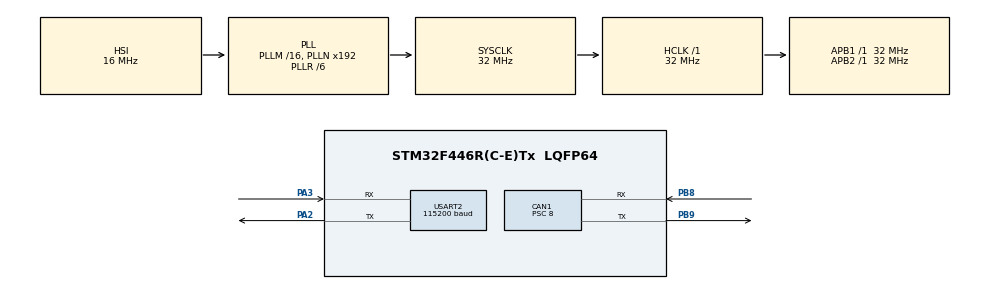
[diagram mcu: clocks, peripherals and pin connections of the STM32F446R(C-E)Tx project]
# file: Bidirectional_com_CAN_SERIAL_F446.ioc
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CAN1.BS1=CAN_BS1_2TQ
CAN1.CalculateBaudRate=1000000
CAN1.CalculateTimeBit=1000
CAN1.CalculateTimeQuantum=250.0
CAN1.Prescaler=8
Dma.Request0=USART2_RX
Dma.USART2_RX.0.Direction=DMA_PERIPH_TO_MEMORY
Dma.USART2_RX.0.FIFOMode=DMA_FIFOMODE_DISABLE
Dma.USART2_RX.0.Instance=DMA1_Stream5
Dma.USART2_RX.0.MemDataAlignment=DMA_MDATAALIGN_BYTE
Dma.USART2_RX.0.MemInc=DMA_MINC_ENABLE
Dma.USART2_RX.0.Mode=DMA_CIRCULAR
Dma.USART2_RX.0.PeriphDataAlignment=DMA_PDATAALIGN_BYTE
Dma.USART2_RX.0.PeriphInc=DMA_PINC_DISABLE
Dma.USART2_RX.0.Priority=DMA_PRIORITY_MEDIUM
Mcu.Family=STM32F4
Mcu.Name=STM32F446R(C-E)Tx
Mcu.Package=LQFP64
NVIC.CAN1_RX0_IRQn=true\:0\:0\:false\:false\:true\:true\:true\:true
NVIC.DMA1_Stream5_IRQn=true\:0\:0\:false\:false\:true\:false\:true\:true
NVIC.FLASH_IRQn=true\:0\:0\:false\:false\:true\:true\:true\:true
NVIC.PVD_IRQn=true\:0\:0\:false\:false\:true\:true\:true\:true
NVIC.PriorityGroup=NVIC_PRIORITYGROUP_4
NVIC.RCC_IRQn=true\:0\:0\:false\:false\:true\:true\:false\:true
NVIC.TIM8_TRG_COM_TIM14_IRQn=true\:0\:0\:false\:false\:true\:true\:true\:true
NVIC.USART2_IRQn=true\:0\:0\:false\:false\:true\:true\:true\:true
PA2.Mode=Asynchronous
PA2.Signal=USART2_TX
PA3.Mode=Asynchronous
PA3.Signal=USART2_RX
PB5.Signal=CAN2_RX
PB6.Signal=CAN2_TX
PB8.Mode=CAN_Activate
PB8.Signal=CAN1_RX
PB9.Mode=CAN_Activate
PB9.Signal=CAN1_TX
PH0-OSC_IN.Mode=HSE-External-Oscillator
PH0-OSC_IN.Signal=RCC_OSC_IN
PH1-OSC_OUT.Mode=HSE-External-Oscillator
PH1-OSC_OUT.Signal=RCC_OSC_OUT
ProjectManager.HeapSize=0x200
ProjectManager.StackSize=0x400
ProjectManager.TargetToolchain=STM32CubeIDE
RCC.AHBFreq_Value=32000000
RCC.APB1Freq_Value=32000000
RCC.APB1TimFreq_Value=32000000
RCC.APB2Freq_Value=32000000
RCC.APB2TimFreq_Value=32000000
RCC.CortexFreq_Value=32000000
RCC.HCLKFreq_Value=32000000
RCC.PLLR=6
RCC.SYSCLKFreq_VALUE=32000000
RCC.SYSCLKSource=RCC_SYSCLKSOURCE_PLLRCLK
RCC.USBFreq_Value=96000000
RCC.VCOOutputFreq_Value=192000000
USART2.BaudRate=115200
USART2.VirtualMode=VM_ASYNC
VP_TIM14_VS_ClockSourceINT.Mode=Enable_Timer
board=custom

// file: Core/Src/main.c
/* USER CODE BEGIN Header */
/**
  ******************************************************************************
  * @file           : main.c
  * @brief          : Main program body
  ******************************************************************************
  * @attention
  *
  * Copyright (c) 2024 STMicroelectronics.
  * All rights reserved.
  *
  * This software is licensed under terms that can be found in the LICENSE file
  * in the root directory of this software component.
  * If no LICENSE file comes with this software, it is provided AS-IS.
  *
  ******************************************************************************
  */
/* USER CODE END Header */
#include "main.h"

/* USER CODE BEGIN Includes */
#include "String.h"

#include "CO_app_STM32.h"
//#include "OD.h"

#include "math.h"
#include <stdio.h>
#include <stdint.h>
/* USER CODE END Includes */

/* USER CODE BEGIN PD */
extern OD_t *OD;
/* USER CODE END PD */

CAN_HandleTypeDef hcan1;

TIM_HandleTypeDef htim14;

UART_HandleTypeDef huart2;
DMA_HandleTypeDef hdma_usart2_rx;

void SystemClock_Config(void);
static void MX_GPIO_Init(void);
static void MX_DMA_Init(void);
static void MX_CAN1_Init(void);
static void MX_USART2_UART_Init(void);
static void MX_TIM14_Init(void);
/* USER CODE BEGIN PFP */
void spara_indietro_usart(CAN_HandleTypeDef *hcan1);
//void HAL_CAN_RxFifo0MsgPendingCallback(CAN_HandleTypeDef *hcan1);
void HAL_TIM_PeriodElapsedCallback(TIM_HandleTypeDef* htim) {
	/* USER CODE END Callback 0 */
	  if (htim->Instance == TIM14) {
	    HAL_IncTick();
	  }
	  /* USER CODE BEGIN Callback 1 */
    if (htim == canopenNodeSTM32->timerHandle) {
        canopen_app_interrupt();
    }
}
/* USER CODE END PFP */

/* USER CODE BEGIN 0 */
uint8_t TxBuffer[50]={0,0,0,0,0,0,0,0,0,0,0,0,0,0,0,0,0,0,0,0};//variabili globali
uint8_t RxBuffer[50]={0,0,0,0,0,0,0,0,0,0,0,0,0,0,0,0,0,0,0,0};//sono buffers, vettori dove i messaggi inviati e ricevuti in seriale vangono immagazzinati per poi farci cose....

CAN_TxHeaderTypeDef TxHeader;//x inviare il messaggio
  CAN_RxHeaderTypeDef RxHeader;//per riceverlo

  CAN_TxHeaderTypeDef TxHeader2;//x inviare il messaggio
    CAN_RxHeaderTypeDef RxHeader2;//per riceverlo

  uint32_t TxMailbox;//è come se fosse la busta del messaggio....
  uint8_t TxData[8];//credo dei contenitori per i dati in IN e OUT
  uint8_t RxData[8];

  uint8_t TxData2[8];//credo dei contenitori per i dati in IN e OUT
  uint8_t RxData2[8];

  uint8_t count = 0;
  uint8_t counter=0;//contatore per vedere se passo da li

    //variablili per interrups di seriale
  	uint8_t pesi=0;
	uint8_t values[10];
	uint32_t value=0;
	HAL_StatusTypeDef stato;

	//Variabili per filtriCanBus
	uint32_t FilterSettings[14]; 					//Array in cui salvo i settaggi arrivati dalla Usart2 prima di inserirli nella stringa
	char FilterSetCanBus [10][30]={ 				//Array di stringhe i cui inserisco i valori di settaggio
		"CAN_FILTER_ENABLE",
		"0",
		"CAN_RX_FIFO0",
		"(0x102 >> 5) & 0xFFFF",
		"(0x102 & 0x1F) << 5",	// TODO
		"(0x7FF >> 5) & 0xFFFF",
		"(0x7FF & 0x1F) << 5",
		"CAN_FILTERMODE_IDMASK",
		"CAN_FILTERSCALE_32BIT",
		"14"
	};

int go=0;
int i=0;
int h=1;

//int j=0;
/* USER CODE END 0 */

int main(void)
{

  /* MCU Configuration--------------------------------------------------------*/

  /* Reset of all peripherals, Initializes the Flash interface and the Systick. */
  HAL_Init();

  /* Configure the system clock */
  SystemClock_Config();

  /* Initialize all configured peripherals */
  MX_GPIO_Init();
  MX_DMA_Init();
  MX_CAN1_Init();
  MX_USART2_UART_Init();
  MX_TIM14_Init();
  /* USER CODE BEGIN 2 */
  HAL_UART_Receive_DMA(&huart2, RxBuffer, sizeof(RxBuffer));
     HAL_UART_Receive_IT(&huart2, RxBuffer, sizeof(RxBuffer));

     HAL_CAN_Start(&hcan1);

         HAL_CAN_ActivateNotification(&hcan1, CAN_IT_RX_FIFO0_MSG_PENDING);//notifica di arrivo dato
         //HAL_CAN_ActivateNotification(&hcan2, CAN_IT_RX_FIFO0_MSG_PENDING);//notifica di arrivo dato
           //da quello che ho capito è una interrupt apposta per l'arrivo di un messaggio in can
           //chiedere cosa sono e come funzionano i tipi di interrupt che vuole....CAN_IT_RX_FIFO0_MSG_PENDING
           //quando arriva il messaggio, i dati passano per referenza dentro hcan
           TxHeader.ExtId = 0;
           TxHeader.IDE = CAN_ID_STD;
           TxHeader.TransmitGlobalTime = DISABLE;
           TxHeader.RTR = CAN_RTR_DATA;//definire se usiamo il remote frame o data frame
           TxHeader.DLC=8;
           TxData[0] = 0x01;
           TxData[1] = 0x02;
           TxData[2] = 0x03;
           TxData[3] = 0x04;
           TxData[4] = 0x05;
           TxData[6] = 0x06;
           TxData[5] = 0x06;
           TxData[7] = 0x07;

           HAL_CAN_AddTxMessage(&hcan1, &TxHeader, TxData, &TxMailbox);

           TxHeader2.ExtId = 0;
           TxHeader2.IDE = CAN_ID_STD;
           TxHeader2.TransmitGlobalTime = DISABLE;
           TxHeader2.RTR = CAN_RTR_DATA;//definire se usiamo il remote frame o data frame
           TxData2[0] = 0x01;
           TxData2[1] = 0x02;
           TxData2[2] = 0x03;
           TxData2[3] = 0x04;
           TxData2[4] = 0x05;
           TxData2[5] = 0x06;
           TxData2[7] = 0x07;
           //create instance canopen and init
           //most of the following functions does not overwrite the IOC settings
           //prima dell'init riesco a sparare qualsiasi messaggio can....quando arrivo acanopen_app_init(&canOpenNodeSTM32); non shotta piu niente
           CANopenNodeSTM32 canOpenNodeSTM32;
           canOpenNodeSTM32.CANHandle = &hcan1;
           canOpenNodeSTM32.HWInitFunction = MX_CAN1_Init;
           canOpenNodeSTM32.timerHandle = &htim14;
           canOpenNodeSTM32.desiredNodeID = 1;
           canOpenNodeSTM32.baudrate = 1000;

           canOpenNodeSTM32.activeNodeID=3;

           canopen_app_init(&canOpenNodeSTM32);
           HAL_CAN_AddTxMessage(&hcan1, &TxHeader, TxData, &TxMailbox);
           OD_set_u32(OD_find(OD, 0x1802), 0x01, 3, false);//non funziona....hardware fault
//           int ciao = 5;

  /* USER CODE END 2 */

  /* Infinite loop */
  /* USER CODE BEGIN WHILE */
  while (1)
  {
	  canopen_app_process();//idem
    /* USER CODE END WHILE */

  }
}

void SystemClock_Config(void)
{
  RCC_OscInitTypeDef RCC_OscInitStruct = {0};
  RCC_ClkInitTypeDef RCC_ClkInitStruct = {0};

  /** Configure the main internal regulator output voltage
  */
  __HAL_RCC_PWR_CLK_ENABLE();
  __HAL_PWR_VOLTAGESCALING_CONFIG(PWR_REGULATOR_VOLTAGE_SCALE3);

  /** Initializes the RCC Oscillators according to the specified parameters
  * in the RCC_OscInitTypeDef structure.
  */
  RCC_OscInitStruct.OscillatorType = RCC_OSCILLATORTYPE_HSI;
  RCC_OscInitStruct.HSIState = RCC_HSI_ON;
  RCC_OscInitStruct.HSICalibrationValue = RCC_HSICALIBRATION_DEFAULT;
  RCC_OscInitStruct.PLL.PLLState = RCC_PLL_ON;
  RCC_OscInitStruct.PLL.PLLSource = RCC_PLLSOURCE_HSI;
  RCC_OscInitStruct.PLL.PLLM = 16;
  RCC_OscInitStruct.PLL.PLLN = 192;
  RCC_OscInitStruct.PLL.PLLP = RCC_PLLP_DIV2;
  RCC_OscInitStruct.PLL.PLLQ = 2;
  RCC_OscInitStruct.PLL.PLLR = 6;
  if (HAL_RCC_OscConfig(&RCC_OscInitStruct) != HAL_OK)
  {
    Error_Handler();
  }

  /** Initializes the CPU, AHB and APB buses clocks
  */
  RCC_ClkInitStruct.ClockType = RCC_CLOCKTYPE_HCLK|RCC_CLOCKTYPE_SYSCLK
                              |RCC_CLOCKTYPE_PCLK1|RCC_CLOCKTYPE_PCLK2;
  RCC_ClkInitStruct.SYSCLKSource = RCC_SYSCLKSOURCE_PLLRCLK;
  RCC_ClkInitStruct.AHBCLKDivider = RCC_SYSCLK_DIV1;
  RCC_ClkInitStruct.APB1CLKDivider = RCC_HCLK_DIV1;
  RCC_ClkInitStruct.APB2CLKDivider = RCC_HCLK_DIV1;

  if (HAL_RCC_ClockConfig(&RCC_ClkInitStruct, FLASH_LATENCY_1) != HAL_OK)
  {
    Error_Handler();
  }
}

static void MX_CAN1_Init(void)
{

  hcan1.Instance = CAN1;
  hcan1.Init.Prescaler = 8;
  hcan1.Init.Mode = CAN_MODE_NORMAL;
  hcan1.Init.SyncJumpWidth = CAN_SJW_1TQ;
  hcan1.Init.TimeSeg1 = CAN_BS1_2TQ;
  hcan1.Init.TimeSeg2 = CAN_BS2_1TQ;
  hcan1.Init.TimeTriggeredMode = DISABLE;
  hcan1.Init.AutoBusOff = DISABLE;
  hcan1.Init.AutoWakeUp = DISABLE;
  hcan1.Init.AutoRetransmission = DISABLE;
  hcan1.Init.ReceiveFifoLocked = DISABLE;
  hcan1.Init.TransmitFifoPriority = DISABLE;
  if (HAL_CAN_Init(&hcan1) != HAL_OK)
  {
    Error_Handler();
  }
  /* USER CODE BEGIN CAN1_Init 2 */

  CAN_FilterTypeDef canfilterconfig;
      canfilterconfig.FilterActivation = CAN_FILTER_ENABLE;
      canfilterconfig.FilterBank = 0;  // anything between 0 to SlaveStartFilterBank
      canfilterconfig.FilterFIFOAssignment = CAN_RX_FIFO0;
      canfilterconfig.FilterIdHigh =(0x102 >> 5) & 0xFFFF;;
      canfilterconfig.FilterIdLow = (0x102 & 0x1F) << 5;
      canfilterconfig.FilterMaskIdHigh = (0x7FF >> 5) & 0xFFFF;
      canfilterconfig.FilterMaskIdLow = (0x7FF & 0x1F) << 5;
      canfilterconfig.FilterMode = CAN_FILTERMODE_IDMASK;//due tipi di filtro
      canfilterconfig.FilterScale = CAN_FILTERSCALE_32BIT;
      canfilterconfig.SlaveStartFilterBank = 14;  // 13 to 27 are assigned to slave CAN (CAN 2) OR 0 to 12 are assgned to CAN1
                  //meglio farselo spiegare.....    canfilterconfig.SlaveStartFilterBank = 13;  // 13 to 27 are assigned to slave CAN (CAN 2) OR 0 to 12 are assgned to CAN1

      HAL_CAN_ConfigFilter(&hcan1, &canfilterconfig);
  /* USER CODE END CAN1_Init 2 */

}

static void MX_TIM14_Init(void)
{

  htim14.Instance = TIM14;
  htim14.Init.Prescaler = 0;
  htim14.Init.CounterMode = TIM_COUNTERMODE_UP;
  htim14.Init.Period = 65535;
  htim14.Init.ClockDivision = TIM_CLOCKDIVISION_DIV1;
  htim14.Init.AutoReloadPreload = TIM_AUTORELOAD_PRELOAD_DISABLE;
  if (HAL_TIM_Base_Init(&htim14) != HAL_OK)
  {
    Error_Handler();
  }

}

static void MX_USART2_UART_Init(void)
{

  huart2.Instance = USART2;
  huart2.Init.BaudRate = 115200;
  huart2.Init.WordLength = UART_WORDLENGTH_8B;
  huart2.Init.StopBits = UART_STOPBITS_1;
  huart2.Init.Parity = UART_PARITY_NONE;
  huart2.Init.Mode = UART_MODE_TX_RX;
  huart2.Init.HwFlowCtl = UART_HWCONTROL_NONE;
  huart2.Init.OverSampling = UART_OVERSAMPLING_16;
  if (HAL_UART_Init(&huart2) != HAL_OK)
  {
    Error_Handler();
  }

}

static void MX_DMA_Init(void)
{

  /* DMA controller clock enable */
  __HAL_RCC_DMA1_CLK_ENABLE();

  /* DMA interrupt init */
  /* DMA1_Stream5_IRQn interrupt configuration */
  HAL_NVIC_SetPriority(DMA1_Stream5_IRQn, 0, 0);
  HAL_NVIC_EnableIRQ(DMA1_Stream5_IRQn);

}

static void MX_GPIO_Init(void)
{
  GPIO_InitTypeDef GPIO_InitStruct = {0};

  /* GPIO Ports Clock Enable */
  __HAL_RCC_GPIOH_CLK_ENABLE();
  __HAL_RCC_GPIOA_CLK_ENABLE();
  __HAL_RCC_GPIOB_CLK_ENABLE();

  /*Configure GPIO pins : PB5 PB6 */
  GPIO_InitStruct.Pin = GPIO_PIN_5|GPIO_PIN_6;
  GPIO_InitStruct.Mode = GPIO_MODE_AF_PP;
  GPIO_InitStruct.Pull = GPIO_NOPULL;
  GPIO_InitStruct.Speed = GPIO_SPEED_FREQ_VERY_HIGH;
  GPIO_InitStruct.Alternate = GPIO_AF9_CAN2;
  HAL_GPIO_Init(GPIOB, &GPIO_InitStruct);

}

/* USER CODE BEGIN 4 */
void spara_indietro_usart(CAN_HandleTypeDef *hcan1)
//void HAL_CAN_RxFifo0MsgPendingCallback(CAN_HandleTypeDef *hcan1)
  {
  	HAL_CAN_GetRxMessage(hcan1, CAN_RX_FIFO0, &RxHeader, RxData);
  	//TxHeader.StdId=2;
  	//h=2;

  	uint8_t newpesi=100;
  	uint8_t contatore=0;
  	int k=0;
  	for(k=0;contatore<RxHeader.DLC;k=k+1){
  		TxBuffer[k]= RxData[contatore]/newpesi;
  		if(newpesi==1){
  			newpesi=100;
  			contatore=contatore+1;

  		}else{
  			newpesi=newpesi/10;
  		}
  		if(k==49)break;
  	}
  	//TxBuffer=RxData;
  	TxBuffer[1]=RxData[1];
  	TxBuffer[0]=RxData[0];

  	HAL_UART_Transmit(&huart2, TxBuffer, sizeof(TxBuffer), 10);
  }
void HAL_UART_RxCpltCallback(UART_HandleTypeDef *huart){

	//counter=counter+1;
	for(i=0;i<50;i++){
		if(RxBuffer[i]=='e'){									//Valore terminale della stringa in arrivo nel caso in cui sia un DataFrame
		  go=1;
		  break;
		}
		if(RxBuffer[i]=='b'){									//Valore terminale della stringa in arrivo nel caso in cui sia il settaggio dei filtri CAN
		  go=2;
		  break;
		}
	}

	if(go==1 || go==2){

		for(int j=0;j<50;j++){									//scorro il buffer
			if(RxBuffer[j]=='a') {								//separatore di caratteri nella stringa

				for(int a=1;a<=pesi;a++){
					 RxBuffer[j]='\000';
					 RxBuffer[j]=0;
					 double power =pow((10),(pesi-a));
					 value =value +((power)*(values[a-1]));
					 values[a-1]=0;
				}

				pesi =0;

				if(go==1){  									//se è un dataframe salvo i valori su TxData
					switch (count){
						case (0):
							TxHeader.StdId=value;
						break;
						case (1):
							TxHeader.DLC =value;
						  break;
						case (2):
							TxData[0]=value;
						  break;
						case (3):
							TxData[1]=value;
						  break;
						case (4):
							TxData[2]=value;
						  break;
						case (5):
							TxData[3]=value;
						  break;
						case (6):
							TxData[4]=value;
						  break;
						case (7):
							TxData[5]=value;
						  break;
						case (8):
							TxData[6]=value;
						  break;
						case (9):
							TxData[7]=value;
						  break;
					}
				}
				if(go==2){										//se è il settaggio del filtro salvo tutti i dati su FilterSettings e poi li elaborerò alla fine della lettura del buffer
					switch (count){
						case (0): 								//seleziono se ho un ID extended (29bit) o standard (11bit)
							FilterSettings[0]=value;
							/*if(value==0){
								FilterSetCanBus[0]="CAN_FILTER_DISABLE";
							}
							else if(value==1){
								FilterSetCanBus[0]="CAN_FILTER_ENABLE";
							}*/
							break;
						case (1): 								//settaggio FIFO del filtro
							FilterSettings[1]=value;
							if(value==0){
								strcpy(FilterSetCanBus[2], "CAN_RX_FIFO0");

							}
							else if(value==1){
								strcpy(FilterSetCanBus[2], "CAN_RX_FIFO1");
							}
							break;
						case (2): 								//settaggio del FilterScale del filtro
							FilterSettings[2]=value;
							if(value==0){
								strcpy(FilterSetCanBus[8], "CAN_FILTERSCALE_16BIT");
							}
							else if(value==1){
								strcpy(FilterSetCanBus[8], "CAN_FILTERSCALE_32BIT");
							}
							break;
						case (3): 								//modalità di filtro: mask o list
							FilterSettings[3]=value;
							if(value==0){
								strcpy(FilterSetCanBus[7], "CAN_FILTERMODE_IDLIST");
							}
							else if(value==1){
								strcpy(FilterSetCanBus[7], "CAN_FILTERMODE_IDMASK");
							}
							break;
						case (4): 								//setto il Filter Bank
							FilterSettings[4]=value;
//							sprintf(FilterSetCanBus[1], "%u", value);
							break;
						case (5):								//Slave start filter Bank
							FilterSettings[5]=value;
//							sprintf(FilterSetCanBus[9], "%u", value);
							break;
						case (6):  								//Id (L'ID che accetto)
							FilterSettings[6]=value; 			//Mask
							break;
						case (7):  								//Shift HIGH Maschera
							FilterSettings[7]=value; 			//Shift High
							break;
						case (8): 								//Shift LOW Maschera
							FilterSettings[8]=value; 			//Shift Low
							break;
						case (9):  								//IdMask (la maschera che mi setta il filtro)
							FilterSettings[9]=value; 			//IdMask (valori 01)
							break;
						case (10):								//da qui in poi: valori aggiuntivi nel caso in cui volessi usare la modalità "list" del filtro. ci sono 4 possibili spazi per 4 possibili ID.
							FilterSettings[10]=value; 			//ID1
							break;
						case (11):
							FilterSettings[11]=value; 			//ID2
							break;
						case (12):
							FilterSettings[12]=value; 			//ID3
							break;
						case (13):
							FilterSettings[13]=value; 			//ID4
							break;
					}
				}

				value=0;
				count=count+1;
			}
			if((RxBuffer[j]<58)){
				if((RxBuffer[j]>47)){
				 values[pesi]=RxBuffer[j]-48;
				 pesi++;
				 RxBuffer[j]=0;
				 RxBuffer[j]='\000';
				}
			}
			if(RxBuffer[j]=='e'){	//se trovo il valore terminale della stringa di un dataframe allora procedo con l'invio tramite CAN
				go=0;
				RxBuffer[j]=0;
				RxBuffer[j]='\000';
				HAL_CAN_AddTxMessage(&hcan1, &TxHeader, TxData, &TxMailbox);
				h=2;
				TxHeader2.DLC=TxHeader.DLC;
				TxHeader2.ExtId=TxHeader.ExtId;
				TxHeader2.IDE=TxHeader.IDE;
				TxHeader2.RTR=TxHeader.RTR;
				TxHeader2.StdId=TxHeader.StdId;
				TxHeader2.TransmitGlobalTime=TxHeader.TransmitGlobalTime;
				TxHeader.DLC = 8;
				count=0;
				break;
			}
			if(RxBuffer[j]=='b'){	//se trovo il valore terminale della stringa per il settaggio dei filtri allora procedo con l'elaborazione dei valori raccolti e li trasformo in stringhe.
				go=0;
				RxBuffer[j]=0;
				RxBuffer[j]='\000';

				  //FilterID High: creazione della stringa che mi setta nel filtro l'ID High dell'ID che deve essere verificato dal filtro.
				  char hex_IdMask[15]= {0};
//				  sprintf(hex_IdMask, "0x%X", FilterSettings[6]);  //trasformo il valore decimale ricevuto in Hex e poi prosegui concatenando stringhe
				  char Par[] = "(";

				  char Result[40]= {0};
				  strcat(Result, Par);
				  strcat(Result, hex_IdMask);
				  if(FilterSettings[0]==0){  							//se ho un ID extended
					  char Shifh[] = " >> 13) & 0xFFFF";
					  strcat(Result, Shifh);}
				  if(FilterSettings[0]==1){  							//se ho un standard ID
					  char Shifh[] = " >> 5) & 0xFFFF";
					  strcat(Result, Shifh);}
				  strcpy(FilterSetCanBus[3], Result); //Result è la stringa finale che salvo dentro a FilterSetCanBus e che setterà il filtro con i valori ricevuti

				  memset(Result, 0, sizeof(Result)); //ripulisco Result

				  //FilterID Low: imposto la seconda parte dei 16 bit dell'ID
				  strcat(Result, Par);
				  strcat(Result, hex_IdMask);
				  if(FilterSettings[0]==0){//se ho un ID extended
					  char Shifl[] = "<< 3) 0xFFFF";
					  strcat(Result, Shifl);}
				  if(FilterSettings[0]==1){//se ho un standard ID
					  char Shifl[] = " & 0x1F) << 5";
					  strcat(Result, Shifl);}

				  strcpy(FilterSetCanBus[4], Result);//salvo la stringa elaborata su FilterSetCanBus

				  memset(Result, 0, sizeof(Result));//ripulisco Result

				  //MaskIdHigh: concateno la maschera con i valori di shift che invio
				  char hex_Mask[15]= {0};
//				  sprintf(hex_Mask, "0x%X", FilterSettings[9]); //id maschera
				  char Shifh[] = " >> ";
				  char valoreShiftH[15]= {0};
//				  sprintf(valoreShiftH, "%u", FilterSettings[7]); //valore di shift High
				  char fine[] = ") & 0xFFFF";
				  strcat(Result, Par);
				  strcat(Result, hex_Mask);
				  strcat(Result, Shifh);
				  strcat(Result, valoreShiftH);
				  strcat(Result, fine);
				  strcpy(FilterSetCanBus[5], Result);//salvo la stringa elaborata su FilterSetCanBus

				  memset(Result, 0, sizeof(Result));//ripulisco Result

				  //MakIdLow
				  char valoreShiftL[15]= {0};
//				  sprintf(valoreShiftL, "%u", FilterSettings[8]);
				  strcat(Result, Par);
				  strcat(Result, hex_Mask);
				  if(FilterSettings[0]==0){ //se ho extended ID
					  char mezz[] = " << ";
				  	  strcat(Result, mezz);
				  	  strcat(Result, valoreShiftL); //valore di shift LOW
				  	  char end[] = ")& 0xFFFF";
				  	  strcat(Result, end);}

				  if(FilterSettings[0]==1){ //se ho standard ID
					  char mezz[] = " & 0x1F) << ";
					  strcat(Result, mezz);
					  strcat(Result, valoreShiftL); //valore di shift LOW
				  }

				  strcpy(FilterSetCanBus[6], Result);//salvo la stringa elaborata su FilterSetCanBus
				  memset(Result, 0, sizeof(Result));//ripulisco Result

//				CAN_FilterTypeDef canfilterconfig; //setto i filtri
//				canfilterconfig.FilterActivation = FilterSetCanBus[0];
//				canfilterconfig.FilterBank = FilterSetCanBus[1];
//				canfilterconfig.FilterFIFOAssignment = FilterSetCanBus[2];
//				canfilterconfig.FilterIdHigh =FilterSetCanBus[3];
//				canfilterconfig.FilterIdLow = FilterSetCanBus[4];
//				canfilterconfig.FilterMaskIdHigh = FilterSetCanBus[5];
//				canfilterconfig.FilterMaskIdLow = FilterSetCanBus[6];
//				canfilterconfig.FilterMode = FilterSetCanBus[7];
//				canfilterconfig.FilterScale = FilterSetCanBus[8];
//				canfilterconfig.SlaveStartFilterBank = FilterSetCanBus[9];
//				HAL_CAN_ConfigFilter(&hcan1, &canfilterconfig);
				count=0;
				break;
			}
		}
	}
}
/* USER CODE END 4 */

void Error_Handler(void)
{
  __disable_irq();
  while (1)
  {
  }
}
